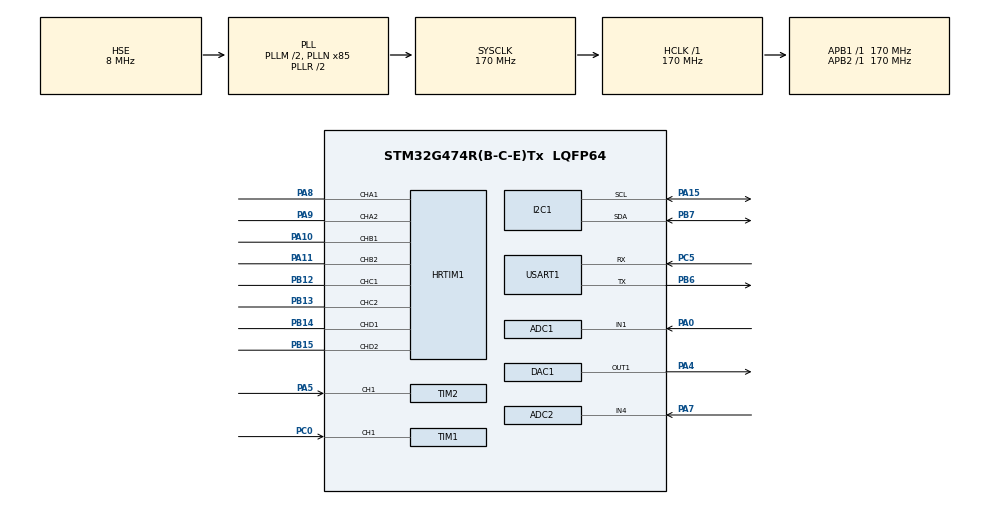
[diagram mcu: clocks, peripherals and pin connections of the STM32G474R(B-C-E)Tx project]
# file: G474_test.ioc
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ADC1.Channel-2\#ChannelRegularConversion=ADC_CHANNEL_1
ADC1.EnableInjectedConversion=DISABLE
ADC1.ExternalTrigConv=ADC_EXTERNALTRIG_T1_TRGO
ADC1.NbrOfConversionFlag=1
ADC1.OffsetNumber-2\#ChannelRegularConversion=ADC_OFFSET_NONE
ADC1.Rank-2\#ChannelRegularConversion=1
ADC1.SamplingTime-2\#ChannelRegularConversion=ADC_SAMPLETIME_2CYCLES_5
ADC1.master=1
ADC2.Channel-0\#ChannelRegularConversion=ADC_CHANNEL_4
ADC2.NbrOfConversionFlag=1
ADC2.OffsetNumber-0\#ChannelRegularConversion=ADC_OFFSET_NONE
ADC2.Rank-0\#ChannelRegularConversion=1
ADC2.SamplingTime-0\#ChannelRegularConversion=ADC_SAMPLETIME_2CYCLES_5
DAC1.DAC_Trigger_OUT1-DAC_OUT1=DAC_TRIGGER_T3_TRGO
Dma.DAC1_CH1.1.Direction=DMA_MEMORY_TO_PERIPH
Dma.DAC1_CH1.1.EventEnable=DISABLE
Dma.DAC1_CH1.1.Instance=DMA1_Channel2
Dma.DAC1_CH1.1.MemDataAlignment=DMA_MDATAALIGN_HALFWORD
Dma.DAC1_CH1.1.MemInc=DMA_MINC_ENABLE
Dma.DAC1_CH1.1.Mode=DMA_CIRCULAR
Dma.DAC1_CH1.1.PeriphDataAlignment=DMA_PDATAALIGN_WORD
Dma.DAC1_CH1.1.PeriphInc=DMA_PINC_DISABLE
Dma.DAC1_CH1.1.Polarity=HAL_DMAMUX_REQ_GEN_RISING
Dma.DAC1_CH1.1.Priority=DMA_PRIORITY_LOW
Dma.DAC1_CH1.1.RequestNumber=1
Dma.DAC1_CH1.1.SignalID=NONE
Dma.DAC1_CH1.1.SyncEnable=DISABLE
Dma.DAC1_CH1.1.SyncPolarity=HAL_DMAMUX_SYNC_NO_EVENT
Dma.DAC1_CH1.1.SyncRequestNumber=1
Dma.DAC1_CH1.1.SyncSignalID=NONE
Dma.Request0=USART1_TX
Dma.Request1=DAC1_CH1
Dma.USART1_TX.0.Direction=DMA_MEMORY_TO_PERIPH
Dma.USART1_TX.0.EventEnable=DISABLE
Dma.USART1_TX.0.Instance=DMA1_Channel1
Dma.USART1_TX.0.MemDataAlignment=DMA_MDATAALIGN_BYTE
Dma.USART1_TX.0.MemInc=DMA_MINC_ENABLE
Dma.USART1_TX.0.Mode=DMA_CIRCULAR
Dma.USART1_TX.0.PeriphDataAlignment=DMA_PDATAALIGN_BYTE
Dma.USART1_TX.0.PeriphInc=DMA_PINC_DISABLE
Dma.USART1_TX.0.Polarity=HAL_DMAMUX_REQ_GEN_RISING
Dma.USART1_TX.0.Priority=DMA_PRIORITY_LOW
Dma.USART1_TX.0.RequestNumber=1
Dma.USART1_TX.0.SignalID=NONE
Dma.USART1_TX.0.SyncEnable=DISABLE
Dma.USART1_TX.0.SyncPolarity=HAL_DMAMUX_SYNC_NO_EVENT
Dma.USART1_TX.0.SyncRequestNumber=1
Dma.USART1_TX.0.SyncSignalID=NONE
HRTIM1.CompareUnit1-MasterTimer=HRTIM_COMPAREUNIT_1
HRTIM1.CompareUnit1-Output_TA1TA2=HRTIM_COMPAREUNIT_1
HRTIM1.CompareUnit1-Output_TB1TB2=HRTIM_COMPAREUNIT_1
HRTIM1.CompareUnit1-Output_TC1TC2=HRTIM_COMPAREUNIT_1
HRTIM1.CompareUnit1-Output_TD1TD2=HRTIM_COMPAREUNIT_1
HRTIM1.CompareUnit2-MasterTimer=HRTIM_COMPAREUNIT_2
HRTIM1.CompareUnit3-MasterTimer=HRTIM_COMPAREUNIT_3
HRTIM1.CompareUnit4-MasterTimer=HRTIM_COMPAREUNIT_4
HRTIM1.CompareValue1-MasterTimer=200
HRTIM1.CompareValue1-Output_TA1TA2=850
HRTIM1.CompareValue1-Output_TB1TB2=850
HRTIM1.CompareValue1-Output_TC1TC2=850
HRTIM1.CompareValue1-Output_TD1TD2=850
HRTIM1.CompareValue2-MasterTimer=400
HRTIM1.CompareValue3-MasterTimer=600
HRTIM1.CompareValue4-MasterTimer=800
HRTIM1.DeadTimeInsertion-Output_TA1TA2=HRTIM_TIMDEADTIMEINSERTION_ENABLED
HRTIM1.DeadTimeInsertion-Output_TB1TB2=HRTIM_TIMDEADTIMEINSERTION_ENABLED
HRTIM1.DeadTimeInsertion-Output_TC1TC2=HRTIM_TIMDEADTIMEINSERTION_ENABLED
HRTIM1.DeadTimeInsertion-Output_TD1TD2=HRTIM_TIMDEADTIMEINSERTION_ENABLED
HRTIM1.Event1-Output_TA1TA2=__NULL
HRTIM1.Event_EEV1=__NULL
HRTIM1.FallingValue-Output_TA1TA2=8.5
HRTIM1.FallingValue-Output_TB1TB2=8.5
HRTIM1.FallingValue-Output_TC1TC2=8.5
HRTIM1.FallingValue-Output_TD1TD2=8.5
HRTIM1.NumberResetSource1-Output_TA1TA2=1
HRTIM1.NumberResetSource1-Output_TB1TB2=1
HRTIM1.NumberResetSource1-Output_TC1TC2=1
HRTIM1.NumberResetSource1-Output_TD1TD2=1
HRTIM1.NumberSetSource1-Output_TA1TA2=1
HRTIM1.NumberSetSource1-Output_TB1TB2=1
HRTIM1.NumberSetSource1-Output_TC1TC2=1
HRTIM1.NumberSetSource1-Output_TD1TD2=1
HRTIM1.NumberUpdateTrigger-Output_TA1TA2=0
HRTIM1.Periode_MASTER=1700
HRTIM1.Periode_TA=1700
HRTIM1.Periode_TB=1700
HRTIM1.Periode_TC=1700
HRTIM1.Periode_TD=1700
HRTIM1.PreloadEnable-MasterTimer=HRTIM_PRELOAD_ENABLED
HRTIM1.PreloadEnable-Output_TA1TA2=HRTIM_PRELOAD_ENABLED
HRTIM1.PreloadEnable-Output_TB1TB2=HRTIM_PRELOAD_ENABLED
HRTIM1.PreloadEnable-Output_TC1TC2=HRTIM_PRELOAD_ENABLED
HRTIM1.PreloadEnable-Output_TD1TD2=HRTIM_PRELOAD_ENABLED
HRTIM1.PrescalerDead-Output_TA1TA2=HRTIM_TIMDEADTIME_PRESCALERRATIO_DIV1
HRTIM1.PrescalerDead-Output_TB1TB2=HRTIM_TIMDEADTIME_PRESCALERRATIO_DIV1
HRTIM1.PrescalerDead-Output_TC1TC2=HRTIM_TIMDEADTIME_PRESCALERRATIO_DIV1
HRTIM1.PrescalerDead-Output_TD1TD2=HRTIM_TIMDEADTIME_PRESCALERRATIO_DIV1
HRTIM1.PrescalerRatio_MASTER=HRTIM_PRESCALERRATIO_DIV1
HRTIM1.PrescalerRatio_TA=HRTIM_PRESCALERRATIO_DIV1
HRTIM1.PrescalerRatio_TB=HRTIM_PRESCALERRATIO_DIV1
HRTIM1.PrescalerRatio_TC=HRTIM_PRESCALERRATIO_DIV1
HRTIM1.PrescalerRatio_TD=HRTIM_PRESCALERRATIO_DIV1
HRTIM1.RepetitionUpdate-MasterTimer=HRTIM_UPDATEONREPETITION_ENABLED
HRTIM1.RepetitionUpdate-Output_TA1TA2=HRTIM_UPDATEONREPETITION_ENABLED
HRTIM1.RepetitionUpdate-Output_TB1TB2=HRTIM_UPDATEONREPETITION_ENABLED
HRTIM1.RepetitionUpdate-Output_TC1TC2=HRTIM_UPDATEONREPETITION_ENABLED
HRTIM1.RepetitionUpdate-Output_TD1TD2=HRTIM_UPDATEONREPETITION_ENABLED
HRTIM1.ResetOutput1_Source1-Output_TA1TA2=HRTIM_OUTPUTRESET_TIMCMP1
HRTIM1.ResetOutput1_Source1-Output_TB1TB2=HRTIM_OUTPUTRESET_TIMCMP1
HRTIM1.ResetOutput1_Source1-Output_TC1TC2=HRTIM_OUTPUTRESET_TIMCMP1
HRTIM1.ResetOutput1_Source1-Output_TD1TD2=HRTIM_OUTPUTRESET_TIMCMP1
HRTIM1.RisingValue-Output_TA1TA2=8.5
HRTIM1.RisingValue-Output_TB1TB2=8.5
HRTIM1.RisingValue-Output_TC1TC2=8.5
HRTIM1.RisingValue-Output_TD1TD2=8.5
HRTIM1.SetOutput1_Source1-Output_TA1TA2=HRTIM_OUTPUTSET_MASTERCMP1
HRTIM1.SetOutput1_Source1-Output_TB1TB2=HRTIM_OUTPUTSET_MASTERCMP2
HRTIM1.SetOutput1_Source1-Output_TC1TC2=HRTIM_OUTPUTSET_MASTERCMP3
HRTIM1.SetOutput1_Source1-Output_TD1TD2=HRTIM_OUTPUTSET_MASTERCMP4
I2C1.Timing=0x40B285C2
Mcu.Family=STM32G4
Mcu.Name=STM32G474R(B-C-E)Tx
Mcu.Package=LQFP64
NVIC.DMA1_Channel1_IRQn=true\:0\:0\:false\:false\:true\:false\:true\:true
NVIC.DMA1_Channel2_IRQn=true\:0\:0\:false\:false\:true\:false\:true\:true
NVIC.PriorityGroup=NVIC_PRIORITYGROUP_4
NVIC.TIM1_CC_IRQn=true\:0\:0\:false\:false\:true\:true\:true\:true
NVIC.TIM2_IRQn=true\:0\:0\:false\:false\:true\:true\:true\:true
PA0.Mode=IN1-Single-Ended
PA0.Signal=ADC1_IN1
PA10.Mode=Output_TB1TB2
PA10.Signal=HRTIM1_CHB1
PA11.Mode=Output_TB1TB2
PA11.Signal=HRTIM1_CHB2
PA13.Mode=Serial_Wire
PA13.Signal=SYS_JTMS-SWDIO
PA14.Mode=Serial_Wire
PA14.Signal=SYS_JTCK-SWCLK
PA15.Mode=I2C
PA15.Signal=I2C1_SCL
PA4.Signal=COMP_DAC11_group
PA5.GPIO_ModeDefaultPP=GPIO_MODE_AF_PP
PA5.Signal=S_TIM2_CH1
PA7.Mode=IN4-Single-Ended
PA7.Signal=ADC2_IN4
PA8.Mode=Output_TA1TA2
PA8.Signal=HRTIM1_CHA1
PA9.Mode=Output_TA1TA2
PA9.Signal=HRTIM1_CHA2
PB12.Mode=Output_TC1TC2
PB12.Signal=HRTIM1_CHC1
PB13.Mode=Output_TC1TC2
PB13.Signal=HRTIM1_CHC2
PB14.Mode=Output_TD1TD2
PB14.Signal=HRTIM1_CHD1
PB15.Mode=Output_TD1TD2
PB15.Signal=HRTIM1_CHD2
PB6.Mode=Asynchronous
PB6.Signal=USART1_TX
PB7.Mode=I2C
PB7.Signal=I2C1_SDA
PC0.GPIO_ModeDefaultPP=GPIO_MODE_AF_PP
PC0.GPIO_PuPd=GPIO_NOPULL
PC0.GPIO_Speed=GPIO_SPEED_FREQ_VERY_HIGH
PC0.Signal=S_TIM1_CH1
PC14-OSC32_IN.Mode=LSE-External-Oscillator
PC14-OSC32_IN.Signal=RCC_OSC32_IN
PC15-OSC32_OUT.Mode=LSE-External-Oscillator
PC15-OSC32_OUT.Signal=RCC_OSC32_OUT
PC5.Mode=Asynchronous
PC5.Signal=USART1_RX
PF0-OSC_IN.Mode=HSE-External-Oscillator
PF0-OSC_IN.Signal=RCC_OSC_IN
PF1-OSC_OUT.Mode=HSE-External-Oscillator
PF1-OSC_OUT.Signal=RCC_OSC_OUT
ProjectManager.HeapSize=0x200
ProjectManager.StackSize=0x800
ProjectManager.TargetToolchain=MDK-ARM V5.27
RCC.ADC12Freq_Value=170000000
RCC.ADC345Freq_Value=170000000
RCC.AHBFreq_Value=170000000
RCC.APB1Freq_Value=170000000
RCC.APB1TimFreq_Value=170000000
RCC.APB2Freq_Value=170000000
RCC.APB2TimFreq_Value=170000000
RCC.CortexFreq_Value=170000000
RCC.EXTERNAL_CLOCK_VALUE=12288000
RCC.HCLKFreq_Value=170000000
RCC.HSE_VALUE=8000000
RCC.HSI48_VALUE=48000000
RCC.HSI_VALUE=16000000
RCC.PLLM=RCC_PLLM_DIV2
RCC.PLLN=85
RCC.PLLSourceVirtual=RCC_PLLSOURCE_HSE
RCC.SYSCLKFreq_VALUE=170000000
RCC.SYSCLKSource=RCC_SYSCLKSOURCE_PLLCLK
RCC.USART1CLockSelection=RCC_USART1CLKSOURCE_SYSCLK
RCC.USBFreq_Value=170000000
RCC.VCOOutputFreq_Value=340000000
SH.COMP_DAC11_group.0=DAC1_OUT1,DAC_OUT1
SH.S_TIM1_CH1.0=TIM1_CH1,Input_Capture1_from_TI1
SH.S_TIM2_CH1.0=TIM2_CH1,Input_Capture1_from_TI1
TIM1.AutoReloadPreload=TIM_AUTORELOAD_PRELOAD_DISABLE
TIM1.Channel-Input_Capture1_from_TI1=TIM_CHANNEL_1
TIM1.PeriodNoDither=1700-1
TIM1.Prescaler=0
TIM1.TIM_MasterOutputTrigger=TIM_TRGO_RESET
TIM1.TIM_MasterSlaveMode=TIM_MASTERSLAVEMODE_DISABLE
TIM2.Channel-Input_Capture1_from_TI1=TIM_CHANNEL_1
TIM2.PeriodNoDither=17000
TIM2.TIM_MasterOutputTrigger=TIM_TRGO_UPDATE
TIM2.TIM_MasterSlaveMode=TIM_MASTERSLAVEMODE_ENABLE
TIM3.Channel-PWM\ Generation1\ No\ Output=TIM_CHANNEL_1
TIM3.PeriodNoDither=38
TIM3.Prescaler=169
TIM3.TIM_MasterOutputTrigger=TIM_TRGO_UPDATE
TIM3.TIM_MasterSlaveMode=TIM_MASTERSLAVEMODE_ENABLE
USART1.VirtualMode-Asynchronous=VM_ASYNC
VP_HRTIM1_VS_hrtimMasterTimerNoOutput.Mode=MasterTimer
VP_SYS_VS_DBSignals.Mode=DisableDeadBatterySignals
VP_TIM1_VS_ClockSourceINT.Mode=Internal
VP_TIM2_VS_ClockSourceINT.Mode=Internal
VP_TIM3_VS_ClockSourceINT.Mode=Internal
VP_TIM3_VS_no_output1.Mode=PWM Generation1 No Output
board=custom

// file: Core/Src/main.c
/* USER CODE BEGIN Header */
/**
  ******************************************************************************
  * @file           : main.c
  * @brief          : Main program body
  ******************************************************************************
  * @attention
  *
  * Copyright (c) 2025 STMicroelectronics.
  * All rights reserved.
  *
  * This software is licensed under terms that can be found in the LICENSE file
  * in the root directory of this software component.
  * If no LICENSE file comes with this software, it is provided AS-IS.
  *
  ******************************************************************************
  */
/* USER CODE END Header */
#include "main.h"
#include "adc.h"
#include "dac.h"
#include "dma.h"
#include "hrtim.h"
#include "i2c.h"
#include "tim.h"
#include "usart.h"
#include "gpio.h"

/* USER CODE BEGIN Includes */
#include "delay_us.h"
#include "stdio.h"
#include "string.h"
#include <math.h>
/* USER CODE END Includes */

/* USER CODE BEGIN PTD */
//#define SINE_RESOLUTION 128  // point number of sin wave

#define SINE_RESOLUTION 512 // point number of sin wave
#define PWM_MAX 1000
#define PHASE_STEP (1700 / 512) // ????????
uint16_t sine_wave[SINE_RESOLUTION];

volatile uint32_t current_phase_index = 0;
volatile uint8_t pwm_running = 0;
volatile uint32_t phase_A1_SHIFT, phase_A2_SHIFT, phase_A3_SHIFT, phase_A4_SHIFT;
volatile uint8_t update_phase_flag = 0;
volatile uint8_t tim2_flag = 0;   // TIM2 ????????
volatile uint8_t tim3_flag = 0;   // TIM3 ????????
volatile uint16_t move_count = 0; // ?????
extern UART_HandleTypeDef huart1;

//volatile uint32_t current_phase_index = 0;  // ????????
//volatile uint32_t pwm_period = 1700;        // PWM ??(??????????)
//volatile uint8_t pwm_running = 0;

//uint16_t shifted_sine_wave[SINE_RESOLUTION];

int fputc(int ch, FILE *f) {
    // ?? HAL ??????? UART
    HAL_UART_Transmit(&huart1, (uint8_t *)&ch, 1, HAL_MAX_DELAY);
    return ch;
}
/* USER CODE END PTD */

/* USER CODE BEGIN PD */

#ifndef M_PI
#define M_PI 3.14159265358979323846  // ????? p
#endif
//uint32_t phase_A1,phase_A2,phase_A3,phase_A4;
/* USER CODE END PD */

void SystemClock_Config(void);
/* USER CODE BEGIN PFP */

void HAL_TIM_IC_CaptureCallback(TIM_HandleTypeDef *htim);
//void Generate_Sine_Wave(void);
//void start_module_A(void);
//void stop_module_A(void);

////void Update_PWM_Phase(uint16_t sine_value);
//void Update_PWM_Phase(uint16_t sine_value);
//void HAL_TIM_IC_CaptureCallback(TIM_HandleTypeDef *htim);
//void HAL_TIM_PeriodElapsedCallback(TIM_HandleTypeDef *htim);
//void phase_shift_A(uint32_t period_set_A,uint32_t phase_A1,uint32_t phase_A2,uint32_t phase_A3,uint32_t phase_A4);
//void HAL_TIM_IC_CaptureCallback(TIM_HandleTypeDef *htim);
/* USER CODE END PFP */

/* USER CODE BEGIN 0 */
// Function to generate a sine wave with SINE_RESOLUTION points

//void Update_PWM_Phase(uint16_t sine_value) {
//    uint32_t phase_shift = (sine_value * pwm_period) / 4095;  // ???????? [0, pwm_period/2]
//    uint32_t half_period = pwm_period / 2;

//    HRTIM_CompareCfgTypeDef pCompareCfg = {0};

//    // ??? A ???????(50% ???)
//    pCompareCfg.CompareValue = phase_shift;  // ???
//    HAL_HRTIM_WaveformCompareConfig(&hhrtim1, HRTIM_TIMERINDEX_TIMER_A, HRTIM_COMPAREUNIT_1, &pCompareCfg);

//    pCompareCfg.CompareValue = (phase_shift + half_period) % pwm_period;  // ?????????
//    HAL_HRTIM_WaveformCompareConfig(&hhrtim1, HRTIM_TIMERINDEX_TIMER_A, HRTIM_COMPAREUNIT_2, &pCompareCfg);

//    // ??? B ???????(??)
//    pCompareCfg.CompareValue = (phase_shift + half_period) % pwm_period;  // ???
//    HAL_HRTIM_WaveformCompareConfig(&hhrtim1, HRTIM_TIMERINDEX_TIMER_B, HRTIM_COMPAREUNIT_1, &pCompareCfg);

//    pCompareCfg.CompareValue = (phase_shift + pwm_period) % pwm_period;  // ?????????
//    HAL_HRTIM_WaveformCompareConfig(&hhrtim1, HRTIM_TIMERINDEX_TIMER_B, HRTIM_COMPAREUNIT_2, &pCompareCfg);
//}

//// ?? PWM ????(??????)
//void Update_PWM_Phase(uint16_t sine_value) {
//    uint32_t phase_shift = (sine_value * pwm_period) / 4095;  // ???????? [0, pwm_period/2]

//    // ????? A ?????
//    HRTIM_CompareCfgTypeDef pCompareCfg = {0};
//    pCompareCfg.CompareValue = phase_shift;  // ????
//    HAL_HRTIM_WaveformCompareConfig(&hhrtim1, HRTIM_TIMERINDEX_TIMER_A, HRTIM_COMPAREUNIT_1, &pCompareCfg);

//    // ????? B ?????(????)
//    pCompareCfg.CompareValue = phase_shift + (pwm_period / 2);  // 180? ??
//    HAL_HRTIM_WaveformCompareConfig(&hhrtim1, HRTIM_TIMERINDEX_TIMER_B, HRTIM_COMPAREUNIT_1, &pCompareCfg);
//}

// ??????????
//void HAL_TIM_IC_CaptureCallback(TIM_HandleTypeDef *htim) {
//    if (htim->Instance == TIM2 && htim->Channel == HAL_TIM_ACTIVE_CHANNEL_1) {
//        if (!pwm_running) {
//            pwm_running = 1;  // ??:???? PWM

//            // ???????
//            current_phase_index = 0;

//            // ?? HRTIM ??
//            start_module_A();

//            // ??? PWM ??(?????)
//            Update_PWM_Phase(sine_wave[current_phase_index], 0); // ???????,????? 0

//            // ?????,????????????
//            HAL_TIM_Base_Start_IT(&htim3);
//        }
//    }
//}
//void HAL_TIM_IC_CaptureCallback(TIM_HandleTypeDef *htim) {
//    if (htim->Instance == TIM2 && htim->Channel == HAL_TIM_ACTIVE_CHANNEL_1) {
//        // ??????,????????? PWM ??
//        if (!pwm_running) {
//            pwm_running = 1;  // ??:???? PWM

//            // ???????
//            current_phase_index = 0;

//            // ?? HRTIM ??
//            start_module_A();

//            // ???? PWM ??
//            HAL_TIM_Base_Start_IT(&htim3);  // ?????,????????????
//        }
//    }
//}

// ?????:???? PWM ??
//void HAL_TIM_PeriodElapsedCallback(TIM_HandleTypeDef *htim) {
//    if (htim->Instance == TIM3) {
//        if (pwm_running) {
//            // ??????????
//            uint16_t current_sine_value = sine_wave[current_phase_index];

//            // ?? PWM ??
//            Update_PWM_Phase(current_sine_value, 0);

//            // ??????????
//            current_phase_index++;

//            // ????????,?? PWM
//            if (current_phase_index >= SINE_RESOLUTION) {
//                pwm_running = 0;  // ??:?? PWM
//                HAL_TIM_Base_Stop_IT(&htim3);  // ?????
//                stop_module_A();  // ?? PWM ??
//            }
//        }
//    }
//}

//void start_module_A(void)
//	{
//	HAL_HRTIM_WaveformCounterStart(&hhrtim1,HRTIM_TIMERID_MASTER|HRTIM_TIMERID_TIMER_A|
//		HRTIM_TIMERID_TIMER_B|HRTIM_TIMERID_TIMER_C|HRTIM_TIMERID_TIMER_D);
//
//		HAL_HRTIM_WaveformOutputStart(&hhrtim1,HRTIM_OUTPUT_TA1);
//		HAL_HRTIM_WaveformOutputStart(&hhrtim1,HRTIM_OUTPUT_TA2);
//
//		HAL_HRTIM_WaveformOutputStart(&hhrtim1,HRTIM_OUTPUT_TB1);
//		HAL_HRTIM_WaveformOutputStart(&hhrtim1,HRTIM_OUTPUT_TB2);
//
//		HAL_HRTIM_WaveformOutputStart(&hhrtim1,HRTIM_OUTPUT_TC1);
//		HAL_HRTIM_WaveformOutputStart(&hhrtim1,HRTIM_OUTPUT_TC2);
//
//		HAL_HRTIM_WaveformOutputStart(&hhrtim1,HRTIM_OUTPUT_TD1);
//		HAL_HRTIM_WaveformOutputStart(&hhrtim1,HRTIM_OUTPUT_TD2);
//	}

//
//void phase_shift_A(uint32_t period_set_A,uint32_t phase_A1,uint32_t phase_A2,uint32_t phase_A3,uint32_t phase_A4)
//	{
//	HRTIM_TimeBaseCfgTypeDef pTimeBaseCfg = {0};
//	HRTIM_TimerCfgTypeDef pTimerCfg = {0};
//	HRTIM_CompareCfgTypeDef pCompareCfg = {0};
//	HRTIM_TimerCtlTypeDef pTimerCtl = {0};
//	HRTIM_DeadTimeCfgTypeDef pDeadTimeCfg = {0};
//	HRTIM_OutputCfgTypeDef pOutputCfg = {0};
//
//	phase_A1_SHIFT = period_set_A*phase_A1/360;
//	phase_A2_SHIFT = period_set_A*phase_A2/360;
//	phase_A3_SHIFT = period_set_A*phase_A3/360;
//	phase_A4_SHIFT = period_set_A*phase_A4/360; //transfer degree to pulse
//
//	pCompareCfg.CompareValue = phase_A1_SHIFT;
//	HAL_HRTIM_WaveformCompareConfig(&hhrtim1,HRTIM_TIMERINDEX_MASTER,HRTIM_COMPAREUNIT_1,&pCompareCfg);
//	pCompareCfg.CompareValue = phase_A1_SHIFT + period_set_A/2;
//	HAL_HRTIM_WaveformCompareConfig(&hhrtim1,HRTIM_TIMERINDEX_TIMER_A,HRTIM_COMPAREUNIT_1,&pCompareCfg);
//
//	pCompareCfg.CompareValue = phase_A2_SHIFT;
//	HAL_HRTIM_WaveformCompareConfig(&hhrtim1,HRTIM_TIMERINDEX_MASTER,HRTIM_COMPAREUNIT_2,&pCompareCfg);
//	pCompareCfg.CompareValue = phase_A2_SHIFT + period_set_A/2;
//	HAL_HRTIM_WaveformCompareConfig(&hhrtim1,HRTIM_TIMERINDEX_TIMER_B,HRTIM_COMPAREUNIT_1,&pCompareCfg);
//
//	pCompareCfg.CompareValue = phase_A3_SHIFT;
//	HAL_HRTIM_WaveformCompareConfig(&hhrtim1,HRTIM_TIMERINDEX_MASTER,HRTIM_COMPAREUNIT_3,&pCompareCfg);
//	pCompareCfg.CompareValue = phase_A3_SHIFT + period_set_A/2;
//	HAL_HRTIM_WaveformCompareConfig(&hhrtim1,HRTIM_TIMERINDEX_TIMER_C,HRTIM_COMPAREUNIT_1,&pCompareCfg);
//
//	pCompareCfg.CompareValue = phase_A4_SHIFT;
//	HAL_HRTIM_WaveformCompareConfig(&hhrtim1,HRTIM_TIMERINDEX_MASTER,HRTIM_COMPAREUNIT_4,&pCompareCfg);
//	pCompareCfg.CompareValue = phase_A4_SHIFT + period_set_A/2;
//	HAL_HRTIM_WaveformCompareConfig(&hhrtim1,HRTIM_TIMERINDEX_TIMER_D,HRTIM_COMPAREUNIT_1,&pCompareCfg);
//	}
//
//void Generate_Sine_Wave(void) {
//    for (int i = 0; i < SINE_RESOLUTION; i++) {
//        // ????? 0-4095 ?????
//        sine_wave[i] = (uint16_t)((sin(2 * M_PI * i / SINE_RESOLUTION) + 1) * 2047*0.8);
//    }
//}

//void HAL_TIM_IC_CaptureCallback(TIM_HandleTypeDef *htim) {
//    if (htim->Instance == TIM2 && htim->Channel == HAL_TIM_ACTIVE_CHANNEL_1) {
//        // ?????????,?? TIM3 ? DAC ??

//        // Step 1: ?? TIM3
//        HAL_TIM_Base_Stop(&htim3);  // ?? TIM3
//        __HAL_TIM_SET_COUNTER(&htim3, 0);  // ?????

//        // Step 2: ?? DAC ? DMA
//        HAL_DAC_Stop_DMA(&hdac1, DAC_CHANNEL_1);

//        // Step 3: ???? TIM3
//        HAL_TIM_Base_Start(&htim3);

//        // Step 4: ???? DAC ? DMA ??
//        HAL_DAC_Start_DMA(&hdac1, DAC_CHANNEL_1, (uint32_t *)sine_wave, SINE_RESOLUTION, DAC_ALIGN_12B_R);
//    }
//}

//void phase_shift_A(uint32_t period_set_A, uint32_t phase_A1, uint32_t phase_A2, uint32_t phase_A3, uint32_t phase_A4);
//void start_pwm(void);
//void stop_pwm(void);
//void HAL_TIM_IC_CaptureCallback(TIM_HandleTypeDef *htim);

void Generate_Sine_Wave() {
    for (int i = 0; i < SINE_RESOLUTION; i++) {
        // ??????,????? [0, PWM_MAX]
        sine_wave[i] = (uint16_t)((sin(i * 2.0 * M_PI / SINE_RESOLUTION) + 1) * 0.5 * PWM_MAX);
    }
}

void Print_Sine_Wave() {
    printf("\r\nSine Wave Table (Resolution: %d, Max Value: %d):\r\n", SINE_RESOLUTION, PWM_MAX);
    for (int i = 0; i < SINE_RESOLUTION; i++) {
        printf("Index %d: %d\r\n", i, sine_wave[i]);  // ??????????
    }
    printf("\r\nSine Wave Table Output Complete.\r\n");
}

/* ??HRTIM?? */
//void start_module_A(void) {
//    HAL_HRTIM_WaveformCounterStart(&hhrtim1,
//        HRTIM_TIMERID_MASTER | HRTIM_TIMERID_TIMER_A |
//        HRTIM_TIMERID_TIMER_B | HRTIM_TIMERID_TIMER_C |
//        HRTIM_TIMERID_TIMER_D);
//
//    HAL_HRTIM_WaveformOutputStart(&hhrtim1, HRTIM_OUTPUT_TA1);
//    HAL_HRTIM_WaveformOutputStart(&hhrtim1, HRTIM_OUTPUT_TB1);
//    HAL_HRTIM_WaveformOutputStart(&hhrtim1, HRTIM_OUTPUT_TC1);
//    HAL_HRTIM_WaveformOutputStart(&hhrtim1, HRTIM_OUTPUT_TD1);
//}

void start_module_A(void)
	{
	HAL_HRTIM_WaveformCounterStart(&hhrtim1,HRTIM_TIMERID_MASTER|HRTIM_TIMERID_TIMER_A|
		HRTIM_TIMERID_TIMER_B|HRTIM_TIMERID_TIMER_C|HRTIM_TIMERID_TIMER_D);

		HAL_HRTIM_WaveformOutputStart(&hhrtim1,HRTIM_OUTPUT_TA1);
		HAL_HRTIM_WaveformOutputStart(&hhrtim1,HRTIM_OUTPUT_TA2);

		HAL_HRTIM_WaveformOutputStart(&hhrtim1,HRTIM_OUTPUT_TB1);
		HAL_HRTIM_WaveformOutputStart(&hhrtim1,HRTIM_OUTPUT_TB2);

		HAL_HRTIM_WaveformOutputStart(&hhrtim1,HRTIM_OUTPUT_TC1);
		HAL_HRTIM_WaveformOutputStart(&hhrtim1,HRTIM_OUTPUT_TC2);

		HAL_HRTIM_WaveformOutputStart(&hhrtim1,HRTIM_OUTPUT_TD1);
		HAL_HRTIM_WaveformOutputStart(&hhrtim1,HRTIM_OUTPUT_TD2);
	}

/* ?????? */

//    pCompareCfg.CompareValue = 1700  / 360;
//    HAL_HRTIM_WaveformCompareConfig(&hhrtim1, HRTIM_TIMERINDEX_MASTER,
//        HRTIM_COMPAREUNIT_1, &pCompareCfg);
//    pCompareCfg.CompareValue = 1700 / 360 + 850;
//    HAL_HRTIM_WaveformCompareConfig(&hhrtim1, HRTIM_TIMERINDEX_TIMER_A,
//        HRTIM_COMPAREUNIT_1, &pCompareCfg);
//

void phase_shift_A(uint32_t period_set_A, uint32_t phase_A1,uint32_t phase_A2,
    uint32_t phase_A3, uint32_t phase_A4) {
    HRTIM_TimeBaseCfgTypeDef pTimeBaseCfg = {0};
    HRTIM_TimerCfgTypeDef pTimerCfg = {0};
    HRTIM_CompareCfgTypeDef pCompareCfg = {0};
    HRTIM_TimerCtlTypeDef pTimerCtl = {0};
    HRTIM_DeadTimeCfgTypeDef pDeadTimeCfg = {0};
    HRTIM_OutputCfgTypeDef pOutputCfg = {0};

     phase_A1_SHIFT = (period_set_A * phase_A1 / 360) % period_set_A;  //1700*180/360
     phase_A2_SHIFT = (period_set_A * phase_A2 / 360) % period_set_A;
	 phase_A3_SHIFT = (period_set_A * phase_A3 / 360) % period_set_A;
     phase_A4_SHIFT = (period_set_A * phase_A4 / 360) % period_set_A;

    pCompareCfg.CompareValue = phase_A1_SHIFT;
    HAL_HRTIM_WaveformCompareConfig(&hhrtim1, HRTIM_TIMERINDEX_MASTER,
        HRTIM_COMPAREUNIT_1, &pCompareCfg);
    pCompareCfg.CompareValue = phase_A1_SHIFT + period_set_A/2;
    HAL_HRTIM_WaveformCompareConfig(&hhrtim1, HRTIM_TIMERINDEX_TIMER_A,
        HRTIM_COMPAREUNIT_1, &pCompareCfg);

    pCompareCfg.CompareValue = phase_A2_SHIFT;
    HAL_HRTIM_WaveformCompareConfig(&hhrtim1, HRTIM_TIMERINDEX_MASTER,
        HRTIM_COMPAREUNIT_2, &pCompareCfg);
    pCompareCfg.CompareValue = phase_A2_SHIFT + period_set_A/2;
    HAL_HRTIM_WaveformCompareConfig(&hhrtim1, HRTIM_TIMERINDEX_TIMER_B,
        HRTIM_COMPAREUNIT_1, &pCompareCfg);

    pCompareCfg.CompareValue = phase_A3_SHIFT;
    HAL_HRTIM_WaveformCompareConfig(&hhrtim1, HRTIM_TIMERINDEX_MASTER,
        HRTIM_COMPAREUNIT_3, &pCompareCfg);
    pCompareCfg.CompareValue = phase_A3_SHIFT + period_set_A/2;
    HAL_HRTIM_WaveformCompareConfig(&hhrtim1, HRTIM_TIMERINDEX_TIMER_C,
        HRTIM_COMPAREUNIT_1, &pCompareCfg);

    pCompareCfg.CompareValue = phase_A4_SHIFT;
    HAL_HRTIM_WaveformCompareConfig(&hhrtim1, HRTIM_TIMERINDEX_MASTER,
        HRTIM_COMPAREUNIT_4, &pCompareCfg);
    pCompareCfg.CompareValue = phase_A4_SHIFT + period_set_A/2;
    HAL_HRTIM_WaveformCompareConfig(&hhrtim1, HRTIM_TIMERINDEX_TIMER_D,
        HRTIM_COMPAREUNIT_1, &pCompareCfg);
}

/* ???????? */
void HAL_TIM_IC_CaptureCallback(TIM_HandleTypeDef *htim) {
    if (htim->Instance == TIM2 && htim->Channel == HAL_TIM_ACTIVE_CHANNEL_1) {
        tim2_flag = 1;  // ?? TIM2 ?????
    }
}

//void HAL_TIM_PeriodElapsedCallback(TIM_HandleTypeDef *htim) {
//    if (htim->Instance == TIM3) {
//        tim3_flag = 1;  // ?? TIM3 ?????
//    }
//}

void HAL_TIM_PeriodElapsedCallback(TIM_HandleTypeDef *htim) {
    if (htim->Instance == TIM3) {

            // ??????
            uint32_t period_set_A = 1700;  // HRTIM ???
            //uint32_t phase_A1_SHIFT = (period_set_A * sine_wave[move_count]) / 2000;  // 1700*1000/1000/2
		uint32_t phase_A1_SHIFT=200;
            // ?? Timer A ????
            HRTIM_CompareCfgTypeDef pCompareCfg = {0};
            pCompareCfg.CompareValue = phase_A1_SHIFT;
            HAL_HRTIM_WaveformCompareConfig(&hhrtim1, HRTIM_TIMERINDEX_MASTER,
                HRTIM_COMPAREUNIT_2, &pCompareCfg);

            // ?? Timer A ????(?? 50%)
            pCompareCfg.CompareValue = phase_A1_SHIFT + period_set_A / 2;
            HAL_HRTIM_WaveformCompareConfig(&hhrtim1, HRTIM_TIMERINDEX_TIMER_B,
                HRTIM_COMPAREUNIT_1, &pCompareCfg);

            HAL_TIM_Base_Stop_IT(&htim3);

        }
    }

/* USER CODE END 0 */

int main(void)
{

  /* MCU Configuration--------------------------------------------------------*/

  /* Reset of all peripherals, Initializes the Flash interface and the Systick. */
  HAL_Init();

  /* Configure the system clock */
  SystemClock_Config();

  /* Initialize all configured peripherals */
  MX_GPIO_Init();
  MX_DMA_Init();
  MX_TIM1_Init();
  MX_I2C1_Init();
  MX_USART1_UART_Init();
  MX_ADC1_Init();
  MX_HRTIM1_Init();
  MX_ADC2_Init();
  MX_TIM2_Init();
  MX_TIM3_Init();
  MX_DAC1_Init();
  /* USER CODE BEGIN 2 */

    Generate_Sine_Wave(); // Generate sine wave
     //Print_Sine_Wave();

		// HAL_Delay(20);
    HAL_TIM_IC_Start_IT(&htim2, TIM_CHANNEL_1);

//  start_module_A();
//  phase_shift_A(1700,20,30,40,20);

//  int value = 0;       //ADC value
//  float voltage = 0.0;
//  char message[20] = "";
//	HAL_TIM_PWM_Start(&htim1, TIM_CHANNEL_1);
//    HAL_TIMEx_PWMN_Start(&htim1, TIM_CHANNEL_1);
//	//Delay_us(2);
//	HAL_TIM_PWM_Start(&htim1, TIM_CHANNEL_2);
//    HAL_TIMEx_PWMN_Start(&htim1, TIM_CHANNEL_2);
  /* USER CODE END 2 */

  /* Infinite loop */
  /* USER CODE BEGIN WHILE */
  while (1)
  {

//	  HAL_ADC_Start(&hadc2);
//	  HAL_ADC_PollForConversion(&hadc2,HAL_MAX_DELAY);
//	  value = HAL_ADC_GetValue(&hadc2);
//	  voltage = (value / 4095.0) * 3.3;

	  if (tim2_flag) {
            tim2_flag = 0;  // ?????
            start_module_A();
			//
            phase_shift_A(1700,1,20,50,90);

		   while (move_count < 512) {
            // ?? TIM3 ??,???????
           // __HAL_TIM_SET_COUNTER(&htim3, 0);    // ?? TIM3 ???
            HAL_TIM_Base_Start_IT(&htim3);      // ?? TIM3 ??

            // ?? TIM3 ????
            while (__HAL_TIM_GET_FLAG(&htim3, TIM_FLAG_UPDATE) == RESET) {
                // ?? TIM3 ????????
            }
            __HAL_TIM_CLEAR_FLAG(&htim3, TIM_FLAG_UPDATE);  // ??????

            // ???????
            move_count++;
        }

        // 512 ??????,?????
        move_count = 0;

        }

      //phase_offset += 25;
	  //phase_offset = 25;
	  //__HAL_TIM_SET_COMPARE(&htim1, TIM_CHANNEL_2, (850 + phase_offset) % htim1.Init.Period);
	  //HAL_Delay(10);
    /* USER CODE END WHILE */

  }
}

void SystemClock_Config(void)
{
  RCC_OscInitTypeDef RCC_OscInitStruct = {0};
  RCC_ClkInitTypeDef RCC_ClkInitStruct = {0};

  /** Configure the main internal regulator output voltage
  */
  HAL_PWREx_ControlVoltageScaling(PWR_REGULATOR_VOLTAGE_SCALE1_BOOST);

  /** Initializes the RCC Oscillators according to the specified parameters
  * in the RCC_OscInitTypeDef structure.
  */
  RCC_OscInitStruct.OscillatorType = RCC_OSCILLATORTYPE_HSE;
  RCC_OscInitStruct.HSEState = RCC_HSE_ON;
  RCC_OscInitStruct.PLL.PLLState = RCC_PLL_ON;
  RCC_OscInitStruct.PLL.PLLSource = RCC_PLLSOURCE_HSE;
  RCC_OscInitStruct.PLL.PLLM = RCC_PLLM_DIV2;
  RCC_OscInitStruct.PLL.PLLN = 85;
  RCC_OscInitStruct.PLL.PLLP = RCC_PLLP_DIV2;
  RCC_OscInitStruct.PLL.PLLQ = RCC_PLLQ_DIV2;
  RCC_OscInitStruct.PLL.PLLR = RCC_PLLR_DIV2;
  if (HAL_RCC_OscConfig(&RCC_OscInitStruct) != HAL_OK)
  {
    Error_Handler();
  }

  /** Initializes the CPU, AHB and APB buses clocks
  */
  RCC_ClkInitStruct.ClockType = RCC_CLOCKTYPE_HCLK|RCC_CLOCKTYPE_SYSCLK
                              |RCC_CLOCKTYPE_PCLK1|RCC_CLOCKTYPE_PCLK2;
  RCC_ClkInitStruct.SYSCLKSource = RCC_SYSCLKSOURCE_PLLCLK;
  RCC_ClkInitStruct.AHBCLKDivider = RCC_SYSCLK_DIV1;
  RCC_ClkInitStruct.APB1CLKDivider = RCC_HCLK_DIV1;
  RCC_ClkInitStruct.APB2CLKDivider = RCC_HCLK_DIV1;

  if (HAL_RCC_ClockConfig(&RCC_ClkInitStruct, FLASH_LATENCY_4) != HAL_OK)
  {
    Error_Handler();
  }
}

/* USER CODE BEGIN 4 */

//void HAL_ADC_ConvCpltCallback(ADC_HandleTypeDef *hadc) {
//    if (hadc->Instance == ADC1) {
//        // ?? ADC ???(??:0 ~ 4095)
//        adc_value = HAL_ADC_GetValue(hadc);

//        // ?? ADC ????????
//        // ??????:0 ~ TIM1.Init.Period
//        phase_offset = (adc_value * htim1.Init.Period) / 4095;

//        // ?? TIM1 CH2 ? CCR ?
//        __HAL_TIM_SET_COMPARE(&htim1, TIM_CHANNEL_2, phase_offset);
//    }
//}

//void Update_PWM_Phase(uint32_t adc_value) {
//    // ?? ADC ???????
//    ch1_phase = (adc_value * htim1.Init.Period) / 4095;
//    ch2_phase = ((4095 - adc_value) * htim1.Init.Period) / 4095;

//    // ?? TIM1 CH1 ? CH2 ???
//    __HAL_TIM_SET_COMPARE(&htim1, TIM_CHANNEL_1, ch1_phase);
//    __HAL_TIM_SET_COMPARE(&htim1, TIM_CHANNEL_2, ch2_phase);
//}

/* USER CODE END 4 */

void Error_Handler(void)
{
  __disable_irq();
  while (1)
  {
  }
}
